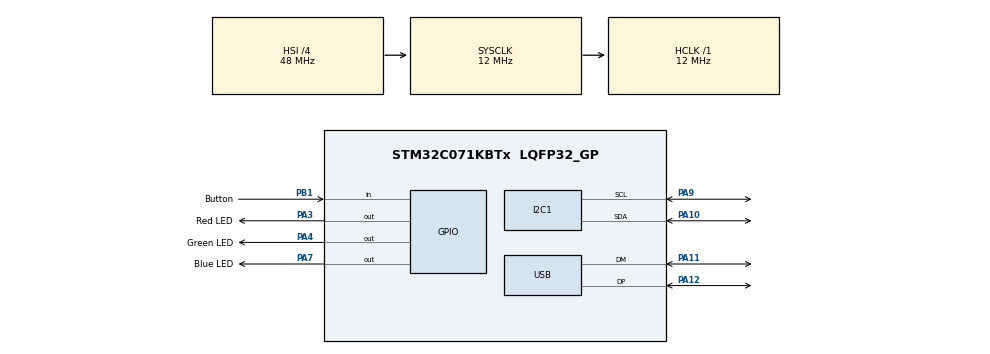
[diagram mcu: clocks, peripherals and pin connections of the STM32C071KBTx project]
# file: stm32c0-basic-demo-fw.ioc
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I2C1.Timing=0x00402D41
Mcu.Family=STM32C0
Mcu.Name=STM32C071KBTx
Mcu.Package=LQFP32_GP
NVIC.I2C1_IRQn=true\:0\:0\:false\:false\:true\:true\:true\:true
NVIC.RCC_CRS_IRQn=true\:0\:0\:false\:false\:true\:true\:false\:true
NVIC.USB_DRD_FS_IRQn=true\:0\:0\:false\:false\:true\:true\:true\:true
PA10\ [PA12].Mode=I2C
PA10\ [PA12].Signal=I2C1_SDA
PA11\ [PA9].Mode=Device
PA11\ [PA9].Signal=USB_DM
PA12\ [PA10].Mode=Device
PA12\ [PA10].Signal=USB_DP
PA3.GPIO_Label=Red LED
PA3.Signal=GPIO_Output
PA4.GPIO_Label=Green LED
PA4.Signal=GPIO_Output
PA7.GPIO_Label=Blue LED
PA7.Signal=GPIO_Output
PA9\ [PA11].Mode=I2C
PA9\ [PA11].Signal=I2C1_SCL
PB1.GPIO_Label=Button
PB1.GPIO_PuPd=GPIO_PULLUP
PB1.Signal=GPIO_Input
ProjectManager.HeapSize=0x300
ProjectManager.StackSize=0x500
ProjectManager.TargetToolchain=STM32CubeIDE
RCC.ADCFreq_Value=12000000
RCC.AHBFreq_Value=12000000
RCC.CortexFreq_Value=12000000
RCC.EXTERNAL_CLOCK_VALUE=12288000
RCC.HCLKFreq_Value=12000000
RCC.HSE_VALUE=8000000
RCC.HSI48_VALUE=48000000
RCC.HSI_VALUE=48000000
RCC.LSE_VALUE=32768
RCC.SYSCLKFreq_VALUE=12000000
USB.VirtualMode=Device_Only
VP_RCC_USB.Mode=CRS SYNC Source USB
board=custom

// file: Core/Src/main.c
/* USER CODE BEGIN Header */
/**
  ******************************************************************************
  * @file           : main.c
  * @brief          : Main program body
  ******************************************************************************
  * @attention
  *
  * Copyright (c) 2026 STMicroelectronics.
  * All rights reserved.
  *
  * This software is licensed under terms that can be found in the LICENSE file
  * in the root directory of this software component.
  * If no LICENSE file comes with this software, it is provided AS-IS.
  *
  ******************************************************************************
  */
/* USER CODE END Header */
#include "main.h"

/* USER CODE BEGIN Includes */
#include "stdio.h"
#include "string.h"

#include "usbd_core.h"
#include "usbd_cdc_if.h"
/* USER CODE END Includes */

I2C_HandleTypeDef hi2c1;

PCD_HandleTypeDef hpcd_USB_DRD_FS;

/* USER CODE BEGIN PV */
USBD_HandleTypeDef hUsbDeviceFS;
extern USBD_DescriptorsTypeDef Class_Desc;
HAL_StatusTypeDef ret;
/* USER CODE END PV */

void SystemClock_Config(void);
static void MX_GPIO_Init(void);
static void MX_I2C1_Init(void);
static void MX_USB_PCD_Init(void);

/* USER CODE BEGIN 0 */
void readTemperature() {

    uint8_t tx_data[1] = {0xFD};
    uint8_t rx_data[3];
    uint16_t DevAddress = 0x44 << 1;

    uint8_t msg[32];
    HAL_StatusTypeDef ret;

    while (HAL_I2C_GetState(&hi2c1) != HAL_I2C_STATE_READY)
    {
        //uint8_t txt[] = "ok!\r\n";
        //TEMPLATE_Transmit(txt, sizeof(txt) - 1);
    }

    ret = HAL_I2C_Master_Transmit(&hi2c1, DevAddress, tx_data, 1, 5000);
    if (ret != HAL_OK) {
        uint8_t txt[] = "TX error!\r\n";
        TEMPLATE_Transmit(txt, sizeof(txt) - 1);
    }

    HAL_Delay(10);

    ret = HAL_I2C_Master_Receive(&hi2c1, DevAddress, rx_data, 3, 5000);
    if (ret != HAL_OK) {
        uint8_t txt[] = "RX error!\r\n";
        TEMPLATE_Transmit(txt, sizeof(txt) - 1);
    }

    uint16_t t_ticks = (rx_data[0] << 8) | rx_data[1];

    // Temperature in centi-degrees (×100)
    int32_t temp = -4500 + (17500 * t_ticks) / 65535;

    // Convert to string manually
    int i = 0;

    // Add label
    const char *label = "Temperature: ";
    while (*label) msg[i++] = *label++;

    // Handle negative
    if (temp < 0) {
        msg[i++] = '-';
        temp = -temp;
    }

    // Integer part
    int32_t int_part = temp / 100;
    int32_t frac_part = temp % 100;

    // Convert integer part
    char buf[10];
    int j = 0;
    do {
        buf[j++] = (int_part % 10) + '0';
        int_part /= 10;
    } while (int_part > 0);

    while (j--) msg[i++] = buf[j];

    // Decimal part
    msg[i++] = '.';
    msg[i++] = (frac_part / 10) + '0';
    msg[i++] = (frac_part % 10) + '0';

    // Unit + newline
    msg[i++] = ' ';
    msg[i++] = 0xC2;   // UTF-8 degree symbol part 1
    msg[i++] = 0xB0;   // UTF-8 degree symbol part 2
    msg[i++] = 'C';
    msg[i++] = '\r';
    msg[i++] = '\n';

    TEMPLATE_Transmit(msg, i);
}

/* USER CODE END 0 */

int main(void)
{

  /* USER CODE BEGIN 1 */
	  uint8_t TxMessageBuffer[] = "hello world! \r\n";
  /* USER CODE END 1 */

  /* MCU Configuration--------------------------------------------------------*/

  /* Reset of all peripherals, Initializes the Flash interface and the Systick. */
  HAL_Init();

  /* Configure the system clock */
  SystemClock_Config();

  /* Initialize all configured peripherals */
  MX_GPIO_Init();
  MX_I2C1_Init();
  MX_USB_PCD_Init();
  /* USER CODE BEGIN 2 */
  while(hUsbDeviceFS.pClassData != NULL)
  HAL_Delay(100);

  HAL_GPIO_WritePin(GPIOA, GPIO_PIN_3, GPIO_PIN_SET);
  HAL_GPIO_WritePin(GPIOA, GPIO_PIN_4, GPIO_PIN_SET);
  HAL_GPIO_WritePin(GPIOA, GPIO_PIN_7, GPIO_PIN_SET);

  /* USER CODE END 2 */

  /* Infinite loop */
  while (1)
  {

    /* USER CODE BEGIN 3 */
	  readTemperature();
	  HAL_Delay(200);
	  if(HAL_GPIO_ReadPin (GPIOB, GPIO_PIN_1) == GPIO_PIN_RESET)
	  {
			TEMPLATE_Transmit(TxMessageBuffer, sizeof(TxMessageBuffer));
			HAL_Delay(250);
	  }
	  else
	  {
	  }

  }
  /* USER CODE END 3 */
}

void SystemClock_Config(void)
{
  RCC_OscInitTypeDef RCC_OscInitStruct = {0};
  RCC_ClkInitTypeDef RCC_ClkInitStruct = {0};
  RCC_CRSInitTypeDef RCC_CRSInitStruct = {0};

  __HAL_FLASH_SET_LATENCY(FLASH_LATENCY_0);

  /** Initializes the RCC Oscillators according to the specified parameters
  * in the RCC_OscInitTypeDef structure.
  */
  RCC_OscInitStruct.OscillatorType = RCC_OSCILLATORTYPE_HSI|RCC_OSCILLATORTYPE_HSI48;
  RCC_OscInitStruct.HSIState = RCC_HSI_ON;
  RCC_OscInitStruct.HSIDiv = RCC_HSI_DIV4;
  RCC_OscInitStruct.HSICalibrationValue = RCC_HSICALIBRATION_DEFAULT;
  RCC_OscInitStruct.HSI48State = RCC_HSI48_ON;

  if (HAL_RCC_OscConfig(&RCC_OscInitStruct) != HAL_OK)
  {
    Error_Handler();
  }

  /** Initializes the CPU, AHB and APB buses clocks
  */
  RCC_ClkInitStruct.ClockType = RCC_CLOCKTYPE_HCLK|RCC_CLOCKTYPE_SYSCLK
                              |RCC_CLOCKTYPE_PCLK1;
  RCC_ClkInitStruct.SYSCLKSource = RCC_SYSCLKSOURCE_HSI;
  RCC_ClkInitStruct.SYSCLKDivider = RCC_SYSCLK_DIV1;
  RCC_ClkInitStruct.AHBCLKDivider = RCC_HCLK_DIV1;
  RCC_ClkInitStruct.APB1CLKDivider = RCC_APB1_DIV1;

  if (HAL_RCC_ClockConfig(&RCC_ClkInitStruct, FLASH_LATENCY_0) != HAL_OK)
  {
    Error_Handler();
  }

  /** Enable the CRS APB clock
  */
  __HAL_RCC_CRS_CLK_ENABLE();

  /** Configures CRS
  */
  RCC_CRSInitStruct.Prescaler = RCC_CRS_SYNC_DIV1;
  RCC_CRSInitStruct.Source = RCC_CRS_SYNC_SOURCE_USB;
  RCC_CRSInitStruct.Polarity = RCC_CRS_SYNC_POLARITY_RISING;
  RCC_CRSInitStruct.ReloadValue = __HAL_RCC_CRS_RELOADVALUE_CALCULATE(48000000,1000);
  RCC_CRSInitStruct.ErrorLimitValue = 34;
  RCC_CRSInitStruct.HSI48CalibrationValue = 32;

  HAL_RCCEx_CRSConfig(&RCC_CRSInitStruct);
}

static void MX_I2C1_Init(void)
{

  hi2c1.Instance = I2C1;
  hi2c1.Init.Timing = 0x00402D41;
  hi2c1.Init.OwnAddress1 = 0;
  hi2c1.Init.AddressingMode = I2C_ADDRESSINGMODE_7BIT;
  hi2c1.Init.DualAddressMode = I2C_DUALADDRESS_DISABLE;
  hi2c1.Init.OwnAddress2 = 0;
  hi2c1.Init.OwnAddress2Masks = I2C_OA2_NOMASK;
  hi2c1.Init.GeneralCallMode = I2C_GENERALCALL_DISABLE;
  hi2c1.Init.NoStretchMode = I2C_NOSTRETCH_DISABLE;
  if (HAL_I2C_Init(&hi2c1) != HAL_OK)
  {
    Error_Handler();
  }

  /** Configure Analogue filter
  */
  if (HAL_I2CEx_ConfigAnalogFilter(&hi2c1, I2C_ANALOGFILTER_ENABLE) != HAL_OK)
  {
    Error_Handler();
  }

  /** Configure Digital filter
  */
  if (HAL_I2CEx_ConfigDigitalFilter(&hi2c1, 0) != HAL_OK)
  {
    Error_Handler();
  }

}

static void MX_USB_PCD_Init(void)
{

  /* USER CODE BEGIN USB_Init 0 */
	hpcd_USB_DRD_FS.pData = &hUsbDeviceFS;
  /* USER CODE END USB_Init 0 */

  hpcd_USB_DRD_FS.Instance = USB_DRD_FS;
  hpcd_USB_DRD_FS.Init.dev_endpoints = 8;
  hpcd_USB_DRD_FS.Init.speed = USBD_FS_SPEED;
  hpcd_USB_DRD_FS.Init.phy_itface = PCD_PHY_EMBEDDED;
  hpcd_USB_DRD_FS.Init.Sof_enable = DISABLE;
  hpcd_USB_DRD_FS.Init.low_power_enable = DISABLE;
  hpcd_USB_DRD_FS.Init.lpm_enable = DISABLE;
  hpcd_USB_DRD_FS.Init.battery_charging_enable = DISABLE;
  hpcd_USB_DRD_FS.Init.vbus_sensing_enable = DISABLE;
  hpcd_USB_DRD_FS.Init.bulk_doublebuffer_enable = DISABLE;
  hpcd_USB_DRD_FS.Init.iso_singlebuffer_enable = DISABLE;
  if (HAL_PCD_Init(&hpcd_USB_DRD_FS) != HAL_OK)
  {
    Error_Handler();
  }
  /* USER CODE BEGIN USB_Init 2 */
  if(USBD_Init(&hUsbDeviceFS, &Class_Desc, 0) != USBD_OK)
        Error_Handler();

  if (USBD_RegisterClass(&hUsbDeviceFS, &USBD_CDC) != USBD_OK)
        Error_Handler();

  if(USBD_CDC_RegisterInterface(&hUsbDeviceFS, &USBD_CDC_Template_fops) != USBD_OK)
        Error_Handler();

  if(USBD_Start(&hUsbDeviceFS) != USBD_OK)
        Error_Handler();
  /* USER CODE END USB_Init 2 */

}

static void MX_GPIO_Init(void)
{
  GPIO_InitTypeDef GPIO_InitStruct = {0};

  /* GPIO Ports Clock Enable */
  __HAL_RCC_GPIOA_CLK_ENABLE();
  __HAL_RCC_GPIOB_CLK_ENABLE();

  /*Configure GPIO pin Output Level */
  HAL_GPIO_WritePin(GPIOA, Red_LED_Pin|Green_LED_Pin|Blue_LED_Pin, GPIO_PIN_RESET);

  /*Configure GPIO pins : Red_LED_Pin Green_LED_Pin Blue_LED_Pin */
  GPIO_InitStruct.Pin = Red_LED_Pin|Green_LED_Pin|Blue_LED_Pin;
  GPIO_InitStruct.Mode = GPIO_MODE_OUTPUT_PP;
  GPIO_InitStruct.Pull = GPIO_NOPULL;
  GPIO_InitStruct.Speed = GPIO_SPEED_FREQ_LOW;
  HAL_GPIO_Init(GPIOA, &GPIO_InitStruct);

  /*Configure GPIO pin : Button_Pin */
  GPIO_InitStruct.Pin = Button_Pin;
  GPIO_InitStruct.Mode = GPIO_MODE_INPUT;
  GPIO_InitStruct.Pull = GPIO_PULLUP;
  HAL_GPIO_Init(Button_GPIO_Port, &GPIO_InitStruct);

}

void Error_Handler(void)
{
  /* USER CODE BEGIN Error_Handler_Debug */
  /* User can add his own implementation to report the HAL error return state */
  __disable_irq();
  while (1)
  {
	  HAL_GPIO_TogglePin (GPIOA, GPIO_PIN_3);
	  HAL_Delay (200);
  }
  /* USER CODE END Error_Handler_Debug */
}
